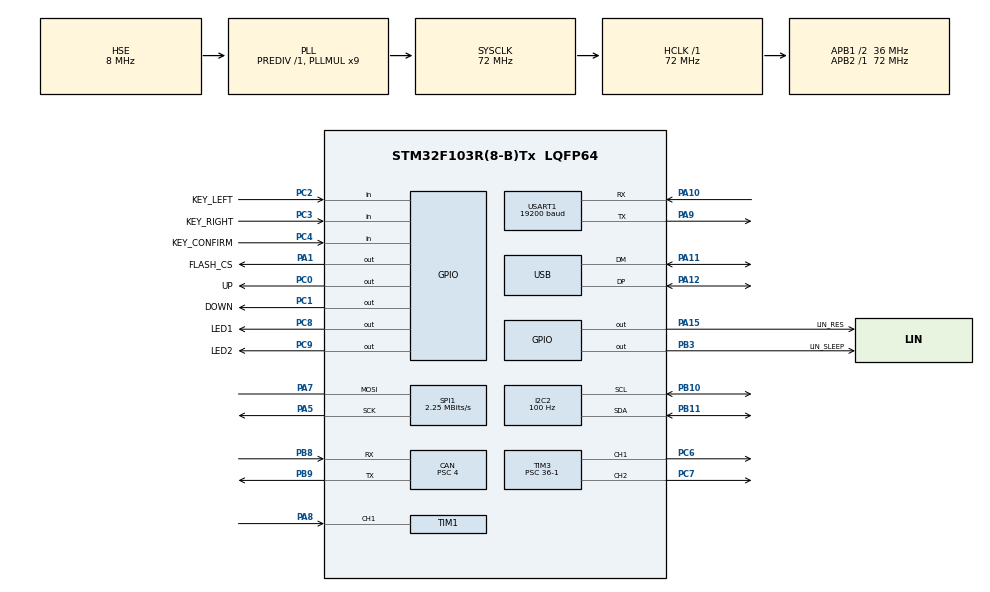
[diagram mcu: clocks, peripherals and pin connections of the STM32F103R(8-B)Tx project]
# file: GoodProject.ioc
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CAN.BS1=CAN_BS1_9TQ
CAN.BS2=CAN_BS2_8TQ
CAN.CalculateBaudRate=500000
CAN.CalculateTimeBit=2000
CAN.CalculateTimeQuantum=111.11111111111111
CAN.Prescaler=4
CAN.SJW=CAN_SJW_4TQ
FREERTOS.Events01=MotorOutEvent,Dynamic,NULL
FREERTOS.INCLUDE_eTaskGetState=0
FREERTOS.INCLUDE_xEventGroupSetBitFromISR=1
FREERTOS.Queues01=SENT_CurrentPositionQueue,1,uint16_t,0,Static,SENT_CurrentPositionBuffer,SENT_CurrentPositionControlBlock;LIN_MasterTargetPositionQueue,1,uint16_t,0,Static,LIN_MasterTargetPositionBuffer,LIN_MasterTargetPositionControlBlock;LIN_MasterModeCommandQueue,1,uint8_t,0,Static,LIN_MasterModeCommandBuffer,LIN_MasterModeCommandControlBlock;MODE_MotorOutQueue,1,uint32_t,0,Static,MODE_MotorOutBuffer,MODE_MotorOutControlBlock
FREERTOS.Tasks01=defaultTask,24,128,StartDefaultTask,Default,NULL,Dynamic,NULL,NULL;CAN,8,128,HAL_CAN_Task,As external,NULL,Dynamic,NULL,NULL;UART,40,128,HAL_UART_Task,As external,NULL,Dynamic,NULL,NULL;TIM,8,128,HAL_TIM_Task,As external,NULL,Dynamic,NULL,NULL;MODE,8,128,MODE_Task,As external,NULL,Dynamic,NULL,NULL;EEPROM,8,128,EEPROM_Task,As external,NULL,Dynamic,NULL,NULL
FREERTOS.configTOTAL_HEAP_SIZE=8192
I2C2.ClockSpeed=100
Mcu.Family=STM32F1
Mcu.Name=STM32F103R(8-B)Tx
Mcu.Package=LQFP64
NVIC.CAN1_RX1_IRQn=true\:5\:0\:false\:false\:true\:true\:true\:true\:true
NVIC.PriorityGroup=NVIC_PRIORITYGROUP_4
NVIC.TIM1_CC_IRQn=true\:5\:0\:false\:false\:true\:true\:true\:true\:true
NVIC.USART1_IRQn=true\:6\:0\:true\:false\:true\:true\:true\:true\:true
NVIC.USB_HP_CAN1_TX_IRQn=true\:5\:0\:false\:false\:true\:true\:true\:true\:true
NVIC.USB_LP_CAN1_RX0_IRQn=true\:5\:0\:false\:false\:true\:true\:true\:true\:true
PA1.GPIO_Label=FLASH_CS
PA1.Signal=GPIO_Output
PA10.GPIO_PuPd=GPIO_PULLUP
PA10.Mode=LIN
PA10.Signal=USART1_RX
PA11.Mode=Device
PA11.Signal=USB_DM
PA12.Mode=Device
PA12.Signal=USB_DP
PA13.Mode=Serial_Wire
PA13.Signal=SYS_JTMS-SWDIO
PA14.Mode=Serial_Wire
PA14.Signal=SYS_JTCK-SWCLK
PA15.GPIO_Label=LIN_RES
PA15.Signal=GPIO_Output
PA5.Mode=Simplex_Bidirectional_Master
PA5.Signal=SPI1_SCK
PA6.Signal=SPI1_MISO
PA7.Mode=Simplex_Bidirectional_Master
PA7.Signal=SPI1_MOSI
PA8.GPIO_PuPd=GPIO_PULLDOWN
PA8.Signal=S_TIM1_CH1
PA9.Mode=LIN
PA9.Signal=USART1_TX
PB10.Mode=I2C
PB10.Signal=I2C2_SCL
PB11.Mode=I2C
PB11.Signal=I2C2_SDA
PB3.GPIO_Label=LIN_SLEEP
PB3.Signal=GPIO_Output
PB6.Signal=I2C1_SCL
PB7.Signal=I2C1_SDA
PB8.Mode=CAN_Activate
PB8.Signal=CAN_RX
PB9.Mode=CAN_Activate
PB9.Signal=CAN_TX
PC0.GPIO_Label=UP
PC0.Signal=GPIO_Output
PC1.GPIO_Label=DOWN
PC1.Signal=GPIO_Output
PC14-OSC32_IN.Mode=LSE-External-Oscillator
PC14-OSC32_IN.Signal=RCC_OSC32_IN
PC15-OSC32_OUT.Mode=LSE-External-Oscillator
PC15-OSC32_OUT.Signal=RCC_OSC32_OUT
PC2.GPIO_Label=KEY_LEFT
PC2.Signal=GPIO_Input
PC3.GPIO_Label=KEY_RIGHT
PC3.Signal=GPIO_Input
PC4.GPIO_Label=KEY_CONFIRM
PC4.Signal=GPIO_Input
PC6.Signal=S_TIM3_CH1
PC7.Signal=S_TIM3_CH2
PC8.GPIO_Label=LED1
PC8.Signal=GPIO_Output
PC9.GPIO_Label=LED2
PC9.Signal=GPIO_Output
PD0-OSC_IN.Mode=HSE-External-Oscillator
PD0-OSC_IN.Signal=RCC_OSC_IN
PD1-OSC_OUT.Mode=HSE-External-Oscillator
PD1-OSC_OUT.Signal=RCC_OSC_OUT
ProjectManager.HeapSize=0x200
ProjectManager.StackSize=0x400
ProjectManager.TargetToolchain=EWARM V8
RCC.AHBFreq_Value=72000000
RCC.APB1CLKDivider=RCC_HCLK_DIV2
RCC.APB1Freq_Value=36000000
RCC.APB1TimFreq_Value=72000000
RCC.APB2Freq_Value=72000000
RCC.APB2TimFreq_Value=72000000
RCC.HCLKFreq_Value=72000000
RCC.PLLMUL=RCC_PLL_MUL9
RCC.RCC_MCOSource=RCC_MCO1SOURCE_PLLCLK
RCC.SYSCLKFreq_VALUE=72000000
RCC.SYSCLKSource=RCC_SYSCLKSOURCE_PLLCLK
RCC.USBFreq_Value=48000000
RCC.USBPrescaler=RCC_USBCLKSOURCE_PLL_DIV1_5
SH.S_TIM1_CH1.0=TIM1_CH1,Input_Capture1_from_TI1
SH.S_TIM3_CH1.0=TIM3_CH1,PWM Generation1 CH1
SH.S_TIM3_CH2.0=TIM3_CH2,PWM Generation2 CH2
SPI1.BaudRatePrescaler=SPI_BAUDRATEPRESCALER_32
SPI1.CalculateBaudRate=2.25 MBits/s
SPI1.Direction=SPI_DIRECTION_1LINE
SPI1.Mode=SPI_MODE_MASTER
SPI1.VirtualType=VM_MASTER
TIM1.Channel-Input_Capture1_from_TI1=TIM_CHANNEL_1
TIM1.ICPolarity_CH1=TIM_INPUTCHANNELPOLARITY_FALLING
TIM1.Prescaler=72-1
TIM1.RepetitionCounter=1
TIM3.Channel-PWM\ Generation1\ CH1=TIM_CHANNEL_1
TIM3.Channel-PWM\ Generation2\ CH2=TIM_CHANNEL_2
TIM3.Period=100-1
TIM3.Prescaler=36-1
USART1.BaudRate=19200
USART1.Parity=PARITY_NONE
USART1.VirtualMode=VM_ASYNC
VP_FREERTOS_VS_CMSIS_V2.Mode=CMSIS_V2
VP_RTC_VS_RTC_Activate.Mode=RTC_Enabled
board=custom

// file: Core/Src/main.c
/* USER CODE BEGIN Header */
/**
  ******************************************************************************
  * @file           : main.c
  * @brief          : Main program body
  ******************************************************************************
  * @attention
  *
  * Copyright (c) 2022 STMicroelectronics.
  * All rights reserved.
  *
  * This software is licensed under terms that can be found in the LICENSE file
  * in the root directory of this software component.
  * If no LICENSE file comes with this software, it is provided AS-IS.
  *
  ******************************************************************************
  */
/* USER CODE END Header */
#include "main.h"
#include "cmsis_os.h"
#include "can.h"
#include "i2c.h"
#include "rtc.h"
#include "spi.h"
#include "tim.h"
#include "usart.h"
#include "gpio.h"

void SystemClock_Config(void);
void MX_FREERTOS_Init(void);

int main(void)
{

  /* MCU Configuration--------------------------------------------------------*/

  /* Reset of all peripherals, Initializes the Flash interface and the Systick. */
  HAL_Init();

  /* Configure the system clock */
  SystemClock_Config();

  /* Initialize all configured peripherals */
  MX_GPIO_Init();
  MX_CAN_Init();
  MX_USB_PCD_Init();
  MX_USART1_UART_Init();
  MX_RTC_Init();
  MX_SPI1_Init();
  MX_TIM1_Init();
  MX_TIM3_Init();
  MX_I2C2_Init();

  /* Init scheduler */
  osKernelInitialize();  /* Call init function for freertos objects (in freertos.c) */
  MX_FREERTOS_Init();

  /* Start scheduler */
  osKernelStart();

  /* We should never get here as control is now taken by the scheduler */
  /* Infinite loop */
  while (1)
  {

  }
}

void SystemClock_Config(void)
{
  RCC_OscInitTypeDef RCC_OscInitStruct = {0};
  RCC_ClkInitTypeDef RCC_ClkInitStruct = {0};
  RCC_PeriphCLKInitTypeDef PeriphClkInit = {0};

  /** Initializes the RCC Oscillators according to the specified parameters
  * in the RCC_OscInitTypeDef structure.
  */
  RCC_OscInitStruct.OscillatorType = RCC_OSCILLATORTYPE_LSI|RCC_OSCILLATORTYPE_HSE;
  RCC_OscInitStruct.HSEState = RCC_HSE_ON;
  RCC_OscInitStruct.HSEPredivValue = RCC_HSE_PREDIV_DIV1;
  RCC_OscInitStruct.HSIState = RCC_HSI_ON;
  RCC_OscInitStruct.LSIState = RCC_LSI_ON;
  RCC_OscInitStruct.PLL.PLLState = RCC_PLL_ON;
  RCC_OscInitStruct.PLL.PLLSource = RCC_PLLSOURCE_HSE;
  RCC_OscInitStruct.PLL.PLLMUL = RCC_PLL_MUL9;
  if (HAL_RCC_OscConfig(&RCC_OscInitStruct) != HAL_OK)
  {
    Error_Handler();
  }

  /** Initializes the CPU, AHB and APB buses clocks
  */
  RCC_ClkInitStruct.ClockType = RCC_CLOCKTYPE_HCLK|RCC_CLOCKTYPE_SYSCLK
                              |RCC_CLOCKTYPE_PCLK1|RCC_CLOCKTYPE_PCLK2;
  RCC_ClkInitStruct.SYSCLKSource = RCC_SYSCLKSOURCE_PLLCLK;
  RCC_ClkInitStruct.AHBCLKDivider = RCC_SYSCLK_DIV1;
  RCC_ClkInitStruct.APB1CLKDivider = RCC_HCLK_DIV2;
  RCC_ClkInitStruct.APB2CLKDivider = RCC_HCLK_DIV1;

  if (HAL_RCC_ClockConfig(&RCC_ClkInitStruct, FLASH_LATENCY_2) != HAL_OK)
  {
    Error_Handler();
  }
  PeriphClkInit.PeriphClockSelection = RCC_PERIPHCLK_RTC|RCC_PERIPHCLK_USB;
  PeriphClkInit.RTCClockSelection = RCC_RTCCLKSOURCE_LSI;
  PeriphClkInit.UsbClockSelection = RCC_USBCLKSOURCE_PLL_DIV1_5;
  if (HAL_RCCEx_PeriphCLKConfig(&PeriphClkInit) != HAL_OK)
  {
    Error_Handler();
  }
}

void Error_Handler(void)
{
  __disable_irq();
  while (1)
  {
  }
}

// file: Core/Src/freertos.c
/* USER CODE BEGIN Header */
/**
  ******************************************************************************
  * File Name          : freertos.c
  * Description        : Code for freertos applications
  ******************************************************************************
  * @attention
  *
  * Copyright (c) 2022 STMicroelectronics.
  * All rights reserved.
  *
  * This software is licensed under terms that can be found in the LICENSE file
  * in the root directory of this software component.
  * If no LICENSE file comes with this software, it is provided AS-IS.
  *
  ******************************************************************************
  */
/* USER CODE END Header */

#include "FreeRTOS.h"
#include "task.h"
#include "main.h"
#include "cmsis_os.h"

/* USER CODE BEGIN Includes */
#include "can.h"
#include "rtc.h"
#include "spi.h"
#include "tim.h"
#include "usart.h"
#include "gpio.h"
#include "tim.h"
#include "mode.h"
/* USER CODE END Includes */

typedef StaticQueue_t osStaticMessageQDef_t;

/* USER CODE BEGIN Variables */
osThreadId uartTaskHandle;
osThreadId canTaskHandle;
osThreadId timTaskHandle;
/* USER CODE END Variables */
/* Definitions for defaultTask */
osThreadId_t defaultTaskHandle;
const osThreadAttr_t defaultTask_attributes = {
  .name = "defaultTask",
  .stack_size = 128 * 4,
  .priority = (osPriority_t) osPriorityNormal,
};
/* Definitions for CAN */
osThreadId_t CANHandle;
const osThreadAttr_t CAN_attributes = {
  .name = "CAN",
  .stack_size = 128 * 4,
  .priority = (osPriority_t) osPriorityLow,
};
/* Definitions for UART */
osThreadId_t UARTHandle;
const osThreadAttr_t UART_attributes = {
  .name = "UART",
  .stack_size = 128 * 4,
  .priority = (osPriority_t) osPriorityHigh,
};
/* Definitions for TIM */
osThreadId_t TIMHandle;
const osThreadAttr_t TIM_attributes = {
  .name = "TIM",
  .stack_size = 128 * 4,
  .priority = (osPriority_t) osPriorityLow,
};
/* Definitions for MODE */
osThreadId_t MODEHandle;
const osThreadAttr_t MODE_attributes = {
  .name = "MODE",
  .stack_size = 128 * 4,
  .priority = (osPriority_t) osPriorityLow,
};
/* Definitions for EEPROM */
osThreadId_t EEPROMHandle;
const osThreadAttr_t EEPROM_attributes = {
  .name = "EEPROM",
  .stack_size = 128 * 4,
  .priority = (osPriority_t) osPriorityLow,
};
/* Definitions for SENT_CurrentPositionQueue */
osMessageQueueId_t SENT_CurrentPositionQueueHandle;
uint8_t SENT_CurrentPositionBuffer[ 1 * sizeof( uint16_t ) ];
osStaticMessageQDef_t SENT_CurrentPositionControlBlock;
const osMessageQueueAttr_t SENT_CurrentPositionQueue_attributes = {
  .name = "SENT_CurrentPositionQueue",
  .cb_mem = &SENT_CurrentPositionControlBlock,
  .cb_size = sizeof(SENT_CurrentPositionControlBlock),
  .mq_mem = &SENT_CurrentPositionBuffer,
  .mq_size = sizeof(SENT_CurrentPositionBuffer)
};
/* Definitions for LIN_MasterTargetPositionQueue */
osMessageQueueId_t LIN_MasterTargetPositionQueueHandle;
uint8_t LIN_MasterTargetPositionBuffer[ 1 * sizeof( uint16_t ) ];
osStaticMessageQDef_t LIN_MasterTargetPositionControlBlock;
const osMessageQueueAttr_t LIN_MasterTargetPositionQueue_attributes = {
  .name = "LIN_MasterTargetPositionQueue",
  .cb_mem = &LIN_MasterTargetPositionControlBlock,
  .cb_size = sizeof(LIN_MasterTargetPositionControlBlock),
  .mq_mem = &LIN_MasterTargetPositionBuffer,
  .mq_size = sizeof(LIN_MasterTargetPositionBuffer)
};
/* Definitions for LIN_MasterModeCommandQueue */
osMessageQueueId_t LIN_MasterModeCommandQueueHandle;
uint8_t LIN_MasterModeCommandBuffer[ 1 * sizeof( uint8_t ) ];
osStaticMessageQDef_t LIN_MasterModeCommandControlBlock;
const osMessageQueueAttr_t LIN_MasterModeCommandQueue_attributes = {
  .name = "LIN_MasterModeCommandQueue",
  .cb_mem = &LIN_MasterModeCommandControlBlock,
  .cb_size = sizeof(LIN_MasterModeCommandControlBlock),
  .mq_mem = &LIN_MasterModeCommandBuffer,
  .mq_size = sizeof(LIN_MasterModeCommandBuffer)
};
/* Definitions for MODE_MotorOutQueue */
osMessageQueueId_t MODE_MotorOutQueueHandle;
uint8_t MODE_MotorOutBuffer[ 1 * sizeof( uint32_t ) ];
osStaticMessageQDef_t MODE_MotorOutControlBlock;
const osMessageQueueAttr_t MODE_MotorOutQueue_attributes = {
  .name = "MODE_MotorOutQueue",
  .cb_mem = &MODE_MotorOutControlBlock,
  .cb_size = sizeof(MODE_MotorOutControlBlock),
  .mq_mem = &MODE_MotorOutBuffer,
  .mq_size = sizeof(MODE_MotorOutBuffer)
};
/* Definitions for MotorOutEvent */
osEventFlagsId_t MotorOutEventHandle;
const osEventFlagsAttr_t MotorOutEvent_attributes = {
  .name = "MotorOutEvent"
};

void StartDefaultTask(void *argument);
extern void HAL_CAN_Task(void *argument);
extern void HAL_UART_Task(void *argument);
extern void HAL_TIM_Task(void *argument);
extern void MODE_Task(void *argument);
extern void EEPROM_Task(void *argument);

void MX_FREERTOS_Init(void); /* (MISRA C 2004 rule 8.1) */

void MX_FREERTOS_Init(void) {

  /* Create the queue(s) */
  /* creation of SENT_CurrentPositionQueue */
  SENT_CurrentPositionQueueHandle = osMessageQueueNew (1, sizeof(uint16_t), &SENT_CurrentPositionQueue_attributes);

  /* creation of LIN_MasterTargetPositionQueue */
  LIN_MasterTargetPositionQueueHandle = osMessageQueueNew (1, sizeof(uint16_t), &LIN_MasterTargetPositionQueue_attributes);

  /* creation of LIN_MasterModeCommandQueue */
  LIN_MasterModeCommandQueueHandle = osMessageQueueNew (1, sizeof(uint8_t), &LIN_MasterModeCommandQueue_attributes);

  /* creation of MODE_MotorOutQueue */
  MODE_MotorOutQueueHandle = osMessageQueueNew (1, sizeof(uint32_t), &MODE_MotorOutQueue_attributes);

  /* Create the thread(s) */
  /* creation of defaultTask */
  defaultTaskHandle = osThreadNew(StartDefaultTask, NULL, &defaultTask_attributes);

  /* creation of CAN */
  CANHandle = osThreadNew(HAL_CAN_Task, NULL, &CAN_attributes);

  /* creation of UART */
  UARTHandle = osThreadNew(HAL_UART_Task, NULL, &UART_attributes);

  /* creation of TIM */
  TIMHandle = osThreadNew(HAL_TIM_Task, NULL, &TIM_attributes);

  /* creation of MODE */
  MODEHandle = osThreadNew(MODE_Task, NULL, &MODE_attributes);

  /* creation of EEPROM */
  EEPROMHandle = osThreadNew(EEPROM_Task, NULL, &EEPROM_attributes);

  /* Create the event(s) */
  /* creation of MotorOutEvent */
  MotorOutEventHandle = osEventFlagsNew(&MotorOutEvent_attributes);

}

void StartDefaultTask(void *argument)
{
  /* USER CODE BEGIN StartDefaultTask */
  /* Infinite loop */
  for(;;)
  {
    HAL_GPIO_WritePin(LED1_GPIO_Port, LED1_Pin, GPIO_PIN_SET);
    //HAL_GPIO_WritePin(UP_GPIO_Port, UP_Pin, GPIO_PIN_SET);
    //HAL_GPIO_WritePin(DOWN_GPIO_Port, DOWN_Pin, GPIO_PIN_SET);
    osDelay(500);

    HAL_GPIO_WritePin(LED1_GPIO_Port, LED1_Pin, GPIO_PIN_RESET);
    //HAL_GPIO_WritePin(UP_GPIO_Port, UP_Pin, GPIO_PIN_RESET);
    //HAL_GPIO_WritePin(DOWN_GPIO_Port, DOWN_Pin, GPIO_PIN_RESET);
    osDelay(500);
  }
  /* USER CODE END StartDefaultTask */
}
